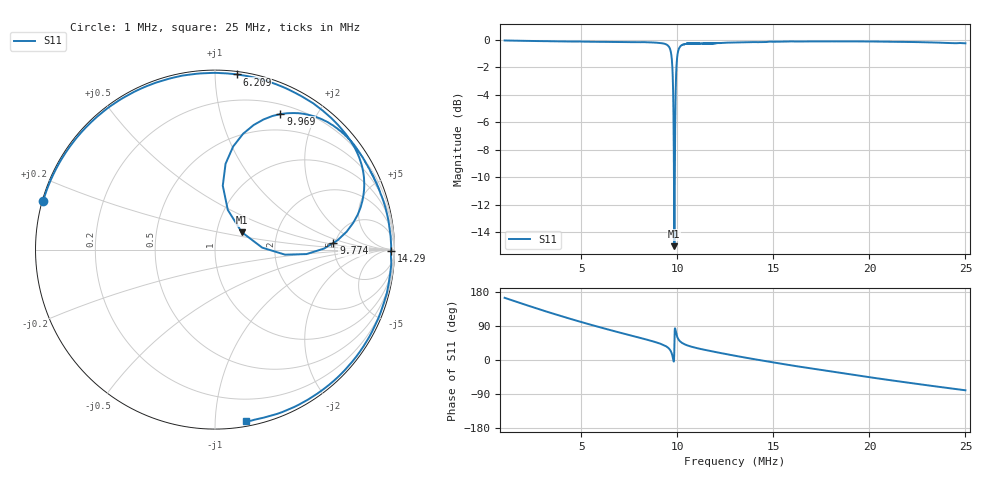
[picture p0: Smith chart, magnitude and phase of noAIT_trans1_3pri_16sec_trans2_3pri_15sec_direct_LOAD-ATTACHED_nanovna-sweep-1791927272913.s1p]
! NanoVNA Web complex sweep
! Processing: unaveraged complex samples; linear segment spacing; no smoothing
# Hz S RI R 50
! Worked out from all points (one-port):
!   5050 points, 1 MHz to 25 MHz, reference 50 ohm
!   lowest |S11| = -15.0 dB at 9.841 MHz (marker M1), VSWR 1.43, Z = 66 + j13.3 ohm
!   |S11| at or under -10 dB: 9.820321 MHz to 9.864478 MHz (44.16 kHz wide, 0.449 % of centre)
!   S11 on the Smith chart (normalised r, x): 1 MHz: 0.00, +0.14; 6.209 MHz: 0.02, +1.13; 9.774 MHz: 4.81, +0.60; 9.969 MHz: 0.30, +1.55; 14.29 MHz: 88, -38; 25 MHz: 0.03, -1.19
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1000000  -0.9575 0.2714
1755727  -0.8708 0.4769
2625526  -0.7226 0.6774
4003896  -0.4172 0.8949
5035297  -0.1637 0.9718
6209288  0.1203 0.9762
7003039  0.2996 0.9358
8115241  0.5255 0.8285
8918498  0.6755 0.7055
9365280  0.7669 0.5879
9588671  0.8227 0.4483
9683731  0.8272 0.3043
9731261  0.7876 0.1796
9774038  0.6592 0.0352
9840580  0.1489 0.0974
9911875  0.1568 0.6457
9968911  0.3644 0.7552
1.000218e7  0.4473 0.7612
1.008298e7  0.5694 0.7365
1.01828e7  0.6471 0.6978
1.056779e7  0.7669 0.5927
1.159444e7  0.8799 0.411
1.300132e7  0.9602 0.1902
1.429414e7  0.9809 -0.00812
1.600047e7  0.9543 -0.25
1.899961e7  0.7782 -0.6074
2.199875e7  0.4963 -0.8485
2.49979e7  0.17 -0.957
